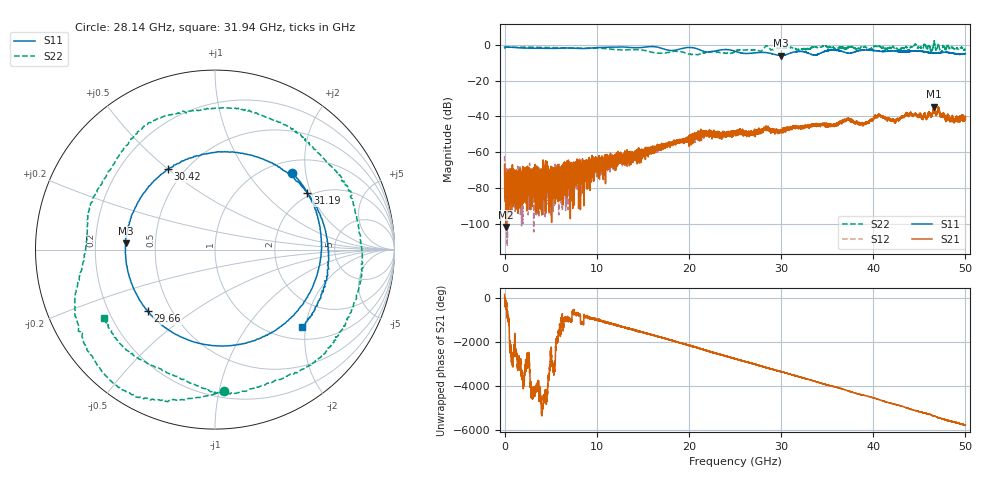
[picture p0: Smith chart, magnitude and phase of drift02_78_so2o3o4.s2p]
!Created with skrf (http://scikit-rf.org).
# Hz S RI R 50.0
!freq ReS11 ImS11 ReS21 ImS21 ReS12 ImS12 ReS22 ImS22
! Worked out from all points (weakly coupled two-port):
!   10001 points, 300 kHz to 50 GHz, reference 50 ohm
!   highest |S21| = -34.45 dB at 46.6 GHz (marker M1); lowest = -101.6 dB at 140.3 MHz (marker M2)
!   lowest |S11| = -6.1 dB at 30 GHz (marker M3), VSWR 2.98, Z = 16.8 + j1.56 ohm
!   |S11| at or under -10 dB: nowhere
!   |S22| runs from -5.7 to 2.3 dB; largest |S21 - S12| = 0.0032
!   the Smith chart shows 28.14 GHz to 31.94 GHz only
!   S11 on the Smith chart (normalised r, x): 28.14 GHz: 1.24, +1.68; 29.66 GHz: 0.37, -0.34; 30.42 GHz: 0.41, +0.50; 31.19 GHz: 1.91, +1.88; 31.94 GHz: 1.29, -1.92
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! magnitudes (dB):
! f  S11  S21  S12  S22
! 300 kHz  -1.3  -66.5  -61.9  -2.0
! 140.3 MHz  -1.3  -101.6  -70.9  -1.5
! 495.3 MHz  -1.4  -75.4  -74.8  -1.5
! 3.9 GHz  -2.0  -83.6  -76.3  -1.5
! 8.335 GHz  -2.2  -69.5  -65.0  -1.9
! 16.67 GHz  -1.5  -56.5  -57.3  -4.7
! 21.62 GHz  -3.8  -48.2  -50.2  -4.6
! 25 GHz  -3.7  -49.0  -48.6  -3.9
! 28.14 GHz  -4.3  -47.4  -47.5  -2.0
! 29.66 GHz  -5.9  -47.8  -48.6  -2.1
! 30 GHz  -6.1  -48.0  -48.2  -2.0
! 30.42 GHz  -5.7  -46.7  -48.0  -1.9
! 31.19 GHz  -4.4  -46.4  -46.7  -1.7
! 31.94 GHz  -3.8  -46.8  -46.2  -2.8
! 33.34 GHz  -5.5  -44.2  -44.8  -1.5
! 37.29 GHz  -4.8  -41.5  -41.4  -1.3
! 38.86 GHz  -3.1  -43.8  -44.6  -1.2
! 40.63 GHz  -3.6  -39.0  -39.0  -0.9
! 41.67 GHz  -3.7  -41.1  -41.0  -1.9
! 46.6 GHz  -4.6  -34.5  -34.7  1.9
! 48.09 GHz  -4.3  -38.8  -39.1  -0.3
! 50 GHz  -5.0  -41.3  -41.4  -2.7
